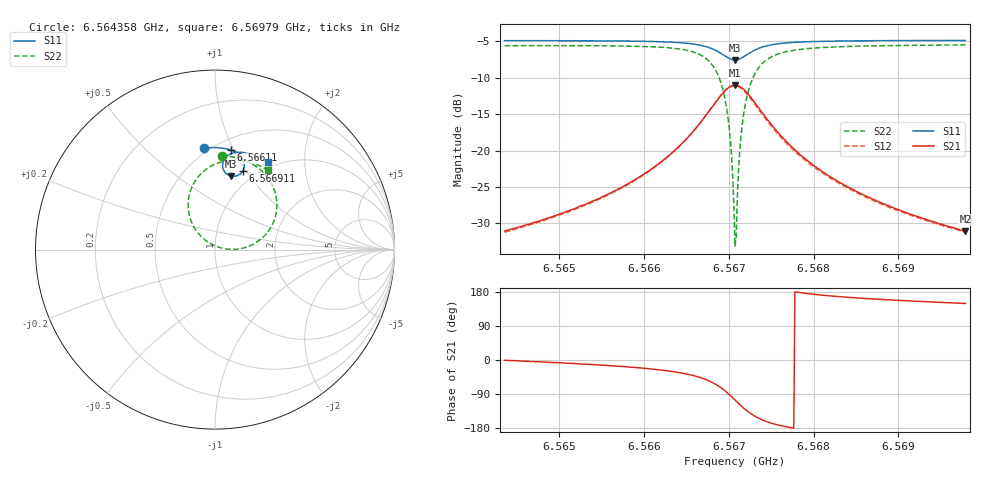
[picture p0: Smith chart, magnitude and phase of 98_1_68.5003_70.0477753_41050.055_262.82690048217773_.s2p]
#  HZ  S  RI  R  50.00
! Rohde & Schwarz Vector Network Analyzer
! Rohde-Schwarz,ZNB20-2Port,1311601062101988,3.16
! Created: UTC 3/20/2024, 5:08:04 PM
! freq[Hz]  re:S11  im:S11  re:S21  im:S21  re:S12  im:S12  re:S22  im:S22
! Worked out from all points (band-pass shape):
!   401 points, 6.564358 GHz to 6.56979 GHz, reference 50 ohm
!   highest |S21| = -11.02 dB at 6.567074 GHz (marker M1); lowest = -31.1 dB at 6.56979 GHz (marker M2)
!   |S21| within 3 dB of the highest: 6.566804 GHz to 6.567346 GHz (541.5 kHz wide, 0.00825 % of centre)
!   lowest |S11| = -7.5 dB at 6.567074 GHz (marker M3), VSWR 2.44, Z = 41.4 + j41.1 ohm
!   |S11| at or under -10 dB: nowhere
!   |S22| runs from -33.1 to -5.5 dB; largest |S21 - S12| = 0.013
!   S11 on the Smith chart (normalised r, x): 6.564358 GHz: 0.47, +0.78; 6.56611 GHz: 0.60, +0.98; 6.566911 GHz: 0.87, +0.97; 6.56979 GHz: 0.92, +1.33
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6.5643579e9  -0.0628 0.5655  0.0281 -0.000257  0.0275 -0.000835  0.0368 0.5242
6.5652678e9  0.0118 0.5678  0.0412 -0.00773  0.0405 -0.00821  0.123 0.5109
6.5661098e9  0.0902 0.5541  0.0695 -0.0312  0.0685 -0.032  0.2321 0.4612
6.5661777e9  0.0975 0.5514  0.0732 -0.0355  0.0722 -0.0363  0.244 0.4525
6.5664765e9  0.1318 0.532  0.0944 -0.0677  0.0929 -0.0691  0.3028 0.3888
6.5666938e9  0.1569 0.5008  0.1084 -0.1219  0.1058 -0.1244  0.3425 0.2843
6.566816e9  0.1637 0.4697  0.1009 -0.1766  0.0967 -0.1798  0.3351 0.18
6.5669111e9  0.1548 0.4381  0.0687 -0.2307  0.061 -0.2339  0.277 0.0786
6.5669654e9  0.1397 0.421  0.0317 -0.2588  0.0219 -0.2604  0.2095 0.0279
6.5670061e9  0.1232 0.412  -0.0052 -0.2726  -0.0164 -0.2719  0.1422 0.00517
6.5670333e9  0.1103 0.4088  -0.033 -0.2761  -0.0446 -0.2735  0.0922 0.00105
6.5670605e9  0.0968 0.4086  -0.0615 -0.274  -0.0733 -0.2693  0.0414 0.00745
6.567074e9  0.0899 0.4096  -0.0757 -0.2708  -0.0873 -0.265  0.0165 0.0146
6.5671012e9  0.0771 0.414  -0.1028 -0.2604  -0.1134 -0.2526  -0.0299 0.0363
6.5671284e9  0.0656 0.421  -0.1267 -0.2452  -0.136 -0.2358  -0.0699 0.0661
6.5671691e9  0.0524 0.4353  -0.155 -0.2159  -0.1615 -0.2051  -0.1146 0.1211
6.5672234e9  0.0433 0.457  -0.1764 -0.1727  -0.1794 -0.1615  -0.1449 0.1996
6.5672913e9  0.0435 0.4825  -0.1824 -0.1229  -0.1821 -0.1131  -0.1467 0.2867
6.5675358e9  0.0809 0.5307  -0.1402 -0.0275  -0.1371 -0.0234  -0.05 0.4469
6.567984e9  0.144 0.5423  -0.0801 0.00868  -0.0781 0.00992  0.0864 0.4973
6.5688939e9  0.2287 0.5212  -0.0387 0.0151  -0.0377 0.0153  0.2165 0.4793
6.5697902e9  0.2947 0.4889  -0.024 0.0143  -0.0236 0.0144  0.2947 0.4429
